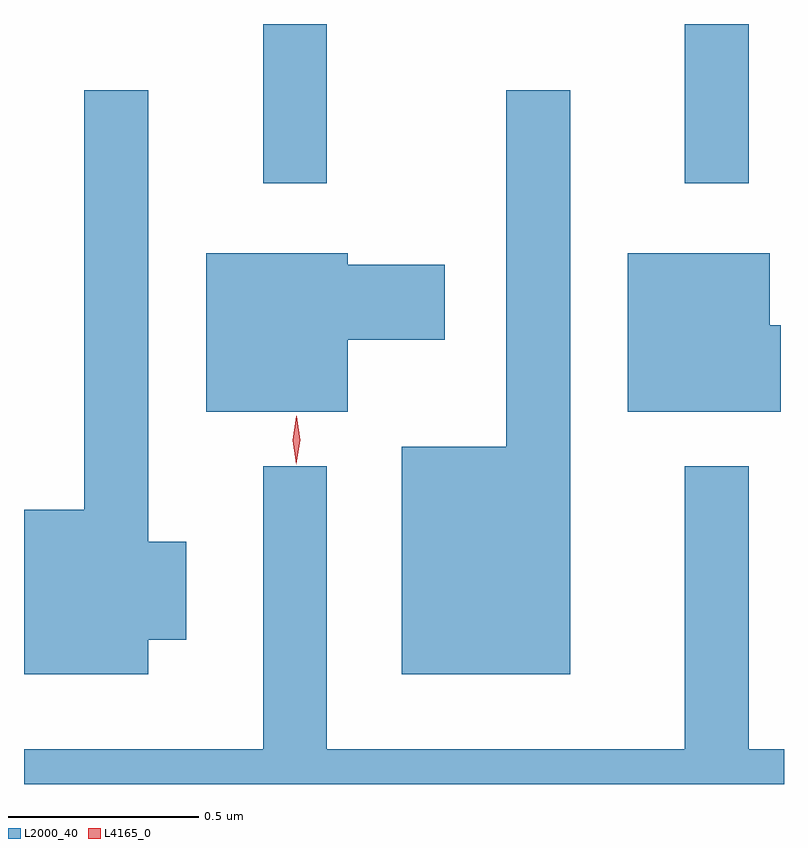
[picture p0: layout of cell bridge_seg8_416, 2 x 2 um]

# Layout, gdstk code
import gdstk
lib = gdstk.Library(unit=1e-6, precision=1e-09)
def R(c, l, rs):  # rectangles x0, y0, x1, y1
    for r in rs: c.add(gdstk.rectangle(r[:2], r[2:], *l))
def P(c, l, *ps):  # polygons
    for p in ps: c.add(gdstk.Polygon(p, *l))
L2000_40 = (2000, 40)
L4165_0 = (4165, 0)

bridge_seg8_416 = lib.new_cell('bridge_seg8_416')
R(bridge_seg8_416, L2000_40, [(705.151,1831.513,705.319,1831.932), (706.261,1831.513,706.429,1831.932)])
P(bridge_seg8_416, L2000_40, [(705.959,1831.758),(705.791,1831.758),(705.791,1830.819),(705.516,1830.819),(705.516,1830.221),(705.959,1830.221)],
  [(704.849,1830.311),(704.949,1830.311),(704.949,1830.569),(704.849,1830.569),(704.849,1831.758),(704.681,1831.758),(704.681,1830.654),(704.522,1830.654),(704.522,1830.221),(704.849,1830.221)],
  [(706.514,1831.139),(706.484,1831.139),(706.484,1831.329),(706.111,1831.329),(706.111,1830.911),(706.514,1830.911)],
  [(705.374,1831.101),(705.629,1831.101),(705.629,1831.299),(705.374,1831.299),(705.374,1831.329),(705.001,1831.329),(705.001,1830.911),(705.374,1830.911)],
  [(706.522,1830.024),(706.429,1830.024),(706.429,1830.768),(706.261,1830.768),(706.261,1830.024),(705.319,1830.024),(705.319,1830.768),(705.151,1830.768),(705.151,1830.024),(704.522,1830.024),(704.522,1829.932),(706.522,1829.932)])
P(bridge_seg8_416, L4165_0, [(705.238,1830.773),(705.229,1830.837),(705.239,1830.9),(705.24,1830.901),(705.24,1830.9),(705.249,1830.837),(705.239,1830.773),(705.239,1830.773)])

lib.write_gds('bridge_seg8_416.gds')
